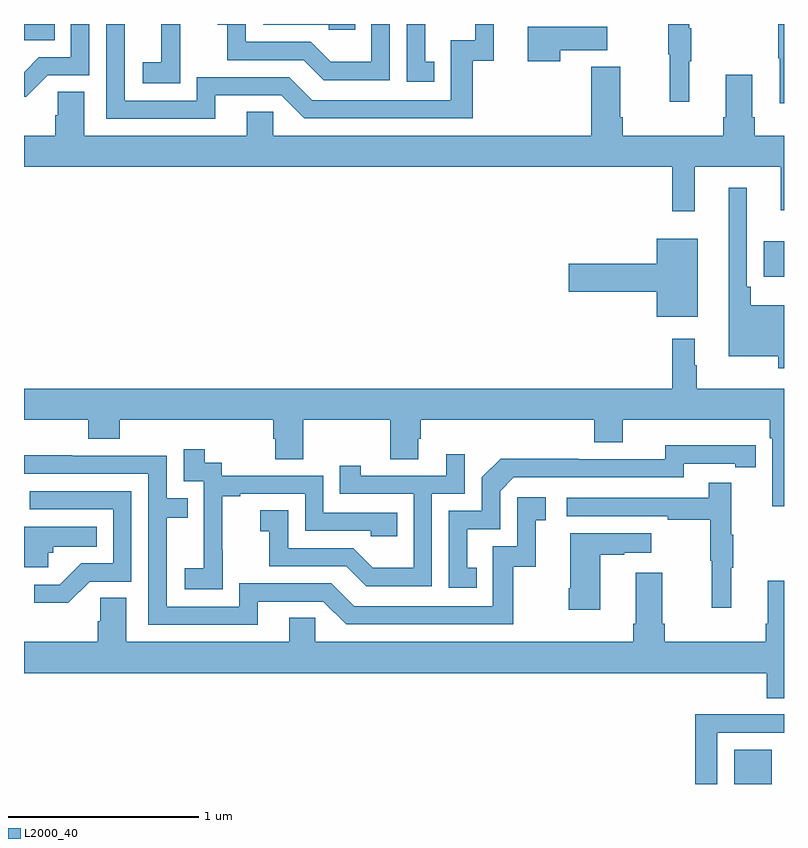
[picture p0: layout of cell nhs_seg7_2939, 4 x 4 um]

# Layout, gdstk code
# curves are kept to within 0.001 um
import gdstk
lib = gdstk.Library(unit=1e-6, precision=1e-09)
def R(c, l, rs):  # rectangles x0, y0, x1, y1
    for r in rs: c.add(gdstk.rectangle(r[:2], r[2:], *l))
def P(c, l, *ps):  # polygons
    for p in ps: c.add(gdstk.Polygon(p, *l))
L2000_40 = (2000, 40)

nhs_seg7_2939 = lib.new_cell('nhs_seg7_2939')
R(nhs_seg7_2939, L2000_40, [(302.738,1032,302.935,1032.181), (302.894,1034.669,303,1034.857), (299,1035.914,299.162,1036)])
P(nhs_seg7_2939, L2000_40, [(303,1036),(302.971,1036),(302.971,1035.82),(302.978,1035.82),(302.978,1035.582),(303,1035.582)],
  [(301.16,1035.801),(301.111,1035.801),(301.111,1036),(301.014,1036),(301.014,1035.696),(301.16,1035.696)],
  [(300.743,1036),(300.258,1036),(300.258,1035.996),(300.603,1035.996),(300.603,1035.969),(300.743,1035.969)],
  [(299.823,1035.895),(299.822,1035.895),(299.822,1036),(299.723,1036),(299.723,1035.799),(299.625,1035.799),(299.625,1035.689),(299.823,1035.689)],
  [(300.007,1035.624),(300.354,1035.624),(300.474,1035.504),(301.361,1035.504),(301.361,1035.807),(301.472,1035.807),(301.472,1036),(301.374,1036),(301.374,1035.915),(301.245,1035.915),(301.245,1035.6),(300.516,1035.6),(300.396,1035.72),(299.91,1035.72),(299.91,1035.597),(299.529,1035.597),(299.529,1036),(299.433,1036),(299.433,1035.501),(300.007,1035.501)],
  [(302.501,1035.803),(302.512,1035.803),(302.512,1035.977),(302.501,1035.977),(302.501,1036),(302.391,1036),(302.391,1035.84),(302.398,1035.84),(302.398,1035.591),(302.501,1035.591)],
  [(299.124,1035.729),(299.343,1035.729),(299.343,1036),(299.247,1036),(299.247,1035.825),(299.078,1035.825),(299,1035.747),(299,1035.617),(299.011,1035.617)],
  [(300.924,1036),(300.828,1036),(300.828,1035.802),(300.614,1035.802),(300.51,1035.906),(300.168,1035.906),(300.168,1036),(300.021,1036),(300.021,1035.995),(300.07,1035.995),(300.07,1035.81),(300.473,1035.81),(300.578,1035.705),(300.924,1035.705)],
  [(301.823,1035.863),(302.071,1035.863),(302.071,1035.985),(301.652,1035.985),(301.652,1035.804),(301.823,1035.804)],
  [(302.531,1035.248),(302.984,1035.248),(302.984,1035.02),(303,1035.02),(303,1035.412),(302.846,1035.412),(302.846,1035.508),(302.833,1035.508),(302.833,1035.733),(302.693,1035.733),(302.693,1035.508),(302.681,1035.508),(302.681,1035.412),(302.15,1035.412),(302.15,1035.508),(302.137,1035.508),(302.137,1035.775),(301.985,1035.775),(301.985,1035.412),(300.312,1035.412),(300.312,1035.539),(300.173,1035.539),(300.173,1035.412),(299.317,1035.412),(299.317,1035.644),(299.178,1035.644),(299.178,1035.521),(299.165,1035.521),(299.165,1035.412),(299,1035.412),(299,1035.248),(302.413,1035.248),(302.413,1035.015),(302.531,1035.015)],
  [(303,1034.521),(302.825,1034.521),(302.825,1034.617),(302.805,1034.617),(302.805,1035.139),(302.708,1035.139),(302.708,1034.252),(302.97,1034.252),(302.97,1034.187),(303,1034.187)],
  [(302.545,1034.869),(302.33,1034.869),(302.33,1034.738),(301.866,1034.738),(301.866,1034.591),(302.33,1034.591),(302.33,1034.459),(302.545,1034.459)],
  [(303,1034.08),(302.542,1034.08),(302.542,1034.204),(302.53,1034.204),(302.53,1034.344),(302.413,1034.344),(302.413,1034.08),(299,1034.08),(299,1033.916),(299.339,1033.916),(299.339,1033.817),(299.504,1033.817),(299.504,1033.916),(300.311,1033.916),(300.311,1033.818),(300.323,1033.818),(300.323,1033.708),(300.471,1033.708),(300.471,1033.916),(300.928,1033.916),(300.928,1033.708),(301.075,1033.708),(301.075,1033.818),(301.088,1033.818),(301.088,1033.916),(302,1033.916),(302,1033.799),(302.152,1033.799),(302.152,1033.916),(302.924,1033.916),(302.924,1033.82),(302.937,1033.82),(302.937,1033.461),(303,1033.461)],
  [(301.382,1033.137),(301.333,1033.137),(301.333,1033.341),(301.506,1033.341),(301.506,1033.542),(301.578,1033.614),(302.472,1033.614),(302.472,1033.686),(302.744,1033.686),(302.744,1033.666),(302.852,1033.666),(302.852,1033.782),(302.376,1033.783),(302.376,1033.71),(301.916,1033.71),(301.916,1033.712),(301.508,1033.712),(301.41,1033.614),(301.41,1033.437),(301.236,1033.437),(301.236,1033.032),(301.382,1033.032)],
  [(300.045,1033.231),(300.044,1033.231),(300.044,1033.515),(300.139,1033.515),(300.139,1033.527),(300.48,1033.527),(300.48,1033.332),(300.825,1033.332),(300.825,1033.305),(300.965,1033.305),(300.965,1033.428),(300.576,1033.428),(300.576,1033.623),(300.042,1033.623),(300.042,1033.692),(299.95,1033.692),(299.95,1033.762),(299.841,1033.762),(299.841,1033.593),(299.946,1033.593),(299.946,1033.364),(299.945,1033.364),(299.945,1033.135),(299.847,1033.135),(299.847,1033.025),(300.045,1033.025)],
  [(301.146,1033.527),(301.32,1033.527),(301.32,1033.735),(301.223,1033.735),(301.223,1033.623),(300.772,1033.623),(300.772,1033.675),(300.661,1033.675),(300.661,1033.527),(301.05,1033.527),(301.05,1033.138),(300.836,1033.138),(300.732,1033.242),(300.39,1033.242),(300.39,1033.441),(300.243,1033.441),(300.243,1033.331),(300.292,1033.331),(300.292,1033.146),(300.695,1033.146),(300.8,1033.041),(301.146,1033.041)],
  [(300.229,1032.96),(300.576,1032.96),(300.696,1032.84),(301.576,1032.84),(301.576,1033.143),(301.694,1033.143),(301.694,1033.389),(301.747,1033.389),(301.747,1033.51),(301.596,1033.51),(301.596,1033.251),(301.467,1033.251),(301.467,1032.936),(300.738,1032.936),(300.618,1033.056),(300.132,1033.056),(300.132,1032.933),(299.751,1032.933),(299.751,1033.402),(299.861,1033.402),(299.861,1033.503),(299.751,1033.503),(299.751,1033.728),(299.255,1033.728),(299.255,1033.73),(299,1033.73),(299,1033.632),(299.655,1033.632),(299.655,1032.837),(300.229,1032.837)],
  [(302.723,1033.139),(302.734,1033.139),(302.734,1033.313),(302.723,1033.313),(302.723,1033.585),(302.605,1033.585),(302.605,1033.506),(301.857,1033.506),(301.857,1033.41),(302.389,1033.41),(302.389,1033.39),(302.613,1033.39),(302.613,1033.176),(302.62,1033.176),(302.62,1032.927),(302.723,1032.927)],
  [(299.346,1033.065),(299.565,1033.065),(299.565,1033.542),(299.031,1033.542),(299.031,1033.446),(299.469,1033.446),(299.469,1033.161),(299.3,1033.161),(299.189,1033.05),(299.055,1033.05),(299.055,1032.953),(299.233,1032.953)],
  [(299.127,1033.218),(299.154,1033.218),(299.154,1033.25),(299.384,1033.25),(299.384,1033.354),(299,1033.354),(299,1033.142),(299.127,1033.142)],
  [(302.032,1033.207),(302.159,1033.207),(302.159,1033.217),(302.302,1033.217),(302.302,1033.321),(301.874,1033.321),(301.874,1033.03),(301.867,1033.03),(301.867,1032.918),(302.032,1032.918)],
  [(303,1033.069),(302.915,1033.069),(302.915,1032.844),(302.903,1032.844),(302.903,1032.748),(302.372,1032.748),(302.372,1032.844),(302.359,1032.844),(302.359,1033.111),(302.219,1033.111),(302.219,1032.844),(302.207,1032.844),(302.207,1032.748),(300.534,1032.748),(300.534,1032.875),(300.395,1032.875),(300.395,1032.748),(299.539,1032.748),(299.539,1032.98),(299.4,1032.98),(299.4,1032.857),(299.387,1032.857),(299.387,1032.748),(299,1032.748),(299,1032.584),(302.909,1032.584),(302.909,1032.451),(303,1032.451)],
  [(302.649,1032.27),(303,1032.27),(303,1032.366),(302.825,1032.366),(302.825,1032.368),(302.533,1032.368),(302.533,1032),(302.649,1032)])

lib.write_gds('nhs_seg7_2939.gds')
